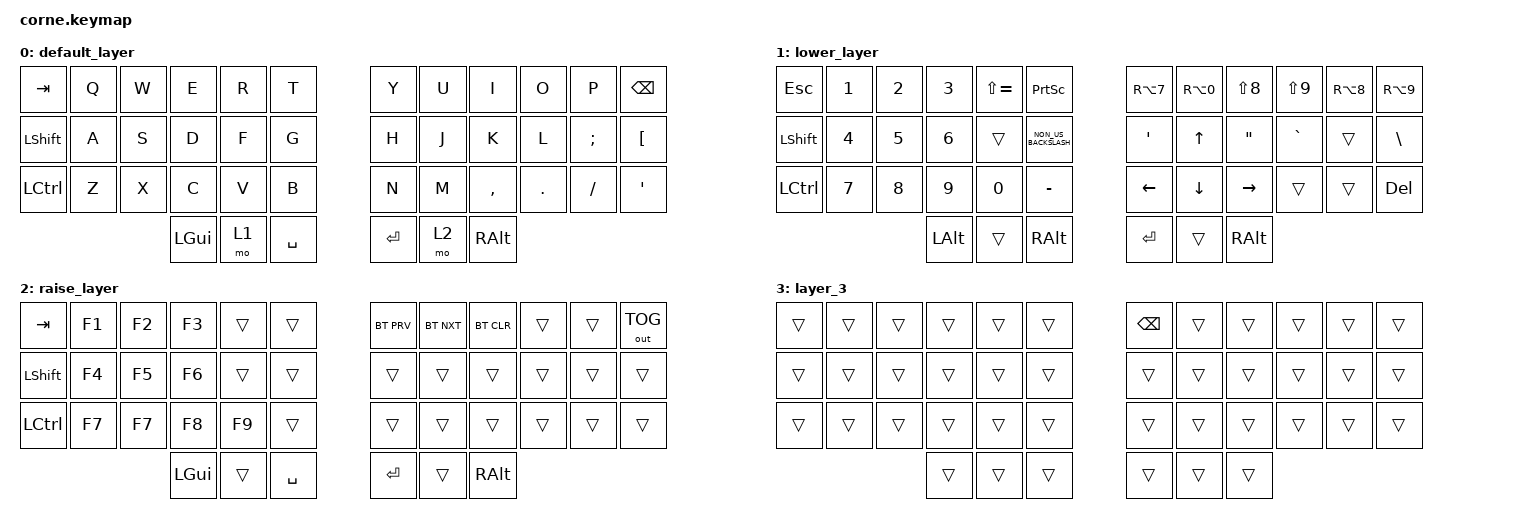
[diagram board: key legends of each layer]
/*
 * Copyright (c) 2020 The ZMK Contributors
 *
 * SPDX-License-Identifier: MIT
 */

#include <behaviors.dtsi>
#include <dt-bindings/zmk/bt.h>
#include <dt-bindings/zmk/keys.h>
#include <dt-bindings/zmk/outputs.h>

/ {
    keymap {
        compatible = "zmk,keymap";

        default_layer {
            // -----------------------------------------------------------------------------------------
            // |  TAB |  Q  |  W  |  E  |  R  |  T  |   |  Y  |  U   |  I  |  O  |  P  | BKSP |
            // | CTRL |  A  |  S  |  D  |  F  |  G  |   |  H  |  J   |  K  |  L  |  ;  |  '   |
            // | SHFT |  Z  |  X  |  C  |  V  |  B  |   |  N  |  M   |  ,  |  .  |  /  | ESC  |
            //                    | GUI | LWR | SPC |   | ENT | RSE  | ALT |

            bindings = <
&kp TAB           &kp Q  &kp W  &kp E     &kp R  &kp T        &kp Y    &kp U  &kp I      &kp O    &kp P      &kp BACKSPACE
&kp LSHIFT        &kp A  &kp S  &kp D     &kp F  &kp G        &kp H    &kp J  &kp K      &kp L    &kp SEMI   &kp LEFT_BRACKET
&kp LEFT_CONTROL  &kp Z  &kp X  &kp C     &kp V  &kp B        &kp N    &kp M  &kp COMMA  &kp DOT  &kp SLASH  &kp SQT
                                &kp LGUI  &mo 1  &kp SPACE    &kp RET  &mo 2  &kp RALT
            >;
        };

        lower_layer {
            // -----------------------------------------------------------------------------------------
            // |  TAB |  1  |  2  |  3  |  4  |  5  |   |  6  |  7  |  8  |  9  |  0  | BKSP |
            // | BTCLR| BT1 | BT2 | BT3 | BT4 | BT5 |   | LFT | DWN |  UP | RGT |     |      |
            // | SHFT |     |     |     |     |     |   |     |     |     |     |     |      |
            //                    | GUI |     | SPC |   | ENT |     | ALT |

            bindings = <
&kp ESCAPE  &kp N1        &kp N2        &kp N3        &kp LS(EQUAL)  &kp PRINTSCREEN         &kp RA(N7)        &kp RA(N0)    &kp LS(N8)         &kp LS(N9)  &kp RA(N8)  &kp RA(N9)
&kp LSHFT   &kp NUMBER_4  &kp N5        &kp NUMBER_6  &trans         &kp NON_US_BACKSLASH    &kp SINGLE_QUOTE  &kp UP_ARROW  &kp DOUBLE_QUOTES  &kp GRAVE   &trans      &kp BACKSLASH
&kp LCTRL   &kp N7        &kp NUMBER_8  &kp N9        &kp N0         &kp MINUS               &kp LEFT          &kp DOWN      &kp RIGHT          &trans      &trans      &kp DELETE
                                        &kp LEFT_ALT  &trans         &kp RIGHT_ALT           &kp RET           &trans        &kp RALT
            >;
        };

        raise_layer {
            // -----------------------------------------------------------------------------------------
            // |  TAB |  !  |  @  |  #  |  $  |  %  |   |  ^  |  &  |  *  |  (  |  )  | BKSP |
            // | CTRL |     |     |     |     |     |   |  -  |  =  |  [  |  ]  |  \  |  `   |
            // | SHFT |     |     |     |     |     |   |  _  |  +  |  {  |  }  | "|" |  ~   |
            //                    | GUI |     | SPC |   | ENT |     | ALT |

            bindings = <
&kp TAB         &kp F1  &kp F2  &kp F3    &trans  &trans       &bt BT_PRV  &bt BT_NXT  &bt BT_CLR  &trans  &trans  &out OUT_TOG
&kp LEFT_SHIFT  &kp F4  &kp F5  &kp F6    &trans  &trans       &trans      &trans      &trans      &trans  &trans  &trans
&kp LCTRL       &kp F7  &kp F7  &kp F8    &kp F9  &trans       &trans      &trans      &trans      &trans  &trans  &trans
                                &kp LGUI  &trans  &kp SPACE    &kp RET     &trans      &kp RALT
            >;
        };

        layer_3 {
            bindings = <
&trans  &trans  &trans  &trans  &trans  &trans    &kp BACKSPACE  &trans  &trans  &trans  &trans  &trans
&trans  &trans  &trans  &trans  &trans  &trans    &trans         &trans  &trans  &trans  &trans  &trans
&trans  &trans  &trans  &trans  &trans  &trans    &trans         &trans  &trans  &trans  &trans  &trans
                        &trans  &trans  &trans    &trans         &trans  &trans
            >;
        };
    };

    conditional_layers {
        compatible = "zmk,conditional-layers";

        Layer3 {
            if-layers = <1 2>;
            then-layer = <3>;
        };
    };
};
